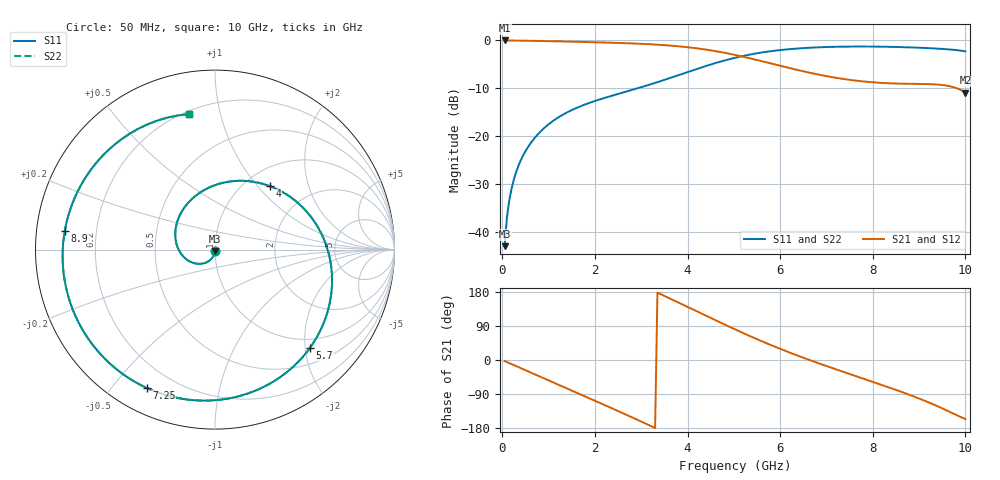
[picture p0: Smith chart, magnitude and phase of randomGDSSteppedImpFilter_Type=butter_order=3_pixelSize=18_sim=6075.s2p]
! freq	dB(S11)	phase(S11)	dB(S12)	phase(S12)
!  dB(S21)	phase(S21)	dB(S22)	phase(S22)
!S-par simulation data
#  GHz  S  DB  R 50
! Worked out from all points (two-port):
!   200 points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, 50 MHz to 10 GHz, reference 50 ohm
!   highest |S21| = 0.00 dB at 50 MHz (marker M1); lowest = -10.9 dB at 10 GHz (marker M2)
!   |S21| within 3 dB of the highest: start of sweep to 5.016 GHz
!   lowest |S11| = -43.0 dB at 50 MHz (marker M3), VSWR 1.01, Z = 50 - j0.71 ohm
!   |S11| at or under -10 dB: start of sweep to 2.917 GHz
!   |S22| runs from -43.0 to -1.3 dB; largest |S21 - S12| = 0
!   S11 on the Smith chart (normalised r, x): 50 MHz: 1.00, -0.01; 4 GHz: 1.29, +1.17; 5.7 GHz: 0.81, -2.10; 7.25 GHz: 0.10, -0.62; 8.9 GHz: 0.09, +0.06; 10 GHz: 0.22, +0.80
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0.05  -42.96 -92.1  -0.00 -2.7  -0.00 -2.7  -42.96 -92.1
0.1  -36.95 -95.1  -0.01 -5.4  -0.01 -5.4  -36.95 -95.1
0.2  -30.95 -100.7  -0.02 -10.8  -0.02 -10.8  -30.95 -100.7
0.5  -23.13 -117.2  -0.06 -26.9  -0.06 -26.9  -23.12 -117.1
1.15  -16.44 -152.7  -0.17 -61.8  -0.17 -61.8  -16.44 -152.6
1.75  -13.51 175.0  -0.31 -93.9  -0.31 -93.9  -13.51 175.1
2.2  -12.03 150.6  -0.43 -118.3  -0.43 -118.3  -12.03 150.8
2.65  -10.75 125.9  -0.56 -142.9  -0.56 -142.9  -10.75 126.1
3.05  -9.62 103.5  -0.72 -165.2  -0.72 -165.2  -9.61 103.8
3.4  -8.55 83.7  -0.91 174.9  -0.91 174.9  -8.55 83.9
4  -6.60 49.0  -1.41 140.1  -1.41 140.1  -6.60 49.3
4.5  -5.02 20.0  -2.06 110.9  -2.06 110.9  -5.02 20.2
5.05  -3.57 -11.2  -3.07 79.4  -3.07 79.4  -3.57 -11.0
5.7  -2.37 -45.9  -4.56 44.5  -4.56 44.5  -2.37 -45.7
6.2  -1.82 -70.3  -5.77 19.9  -5.77 19.9  -1.82 -70.1
6.7  -1.49 -93.0  -6.87 -2.9  -6.87 -2.9  -1.49 -92.8
7.25  -1.31 -116.4  -7.87 -26.5  -7.87 -26.5  -1.31 -116.2
7.85  -1.27 -141.1  -8.61 -51.3  -8.61 -51.3  -1.27 -141.0
8.35  -1.33 -162.2  -8.94 -72.2  -8.94 -72.2  -1.33 -162.0
8.9  -1.48 172.8  -9.07 -96.8  -9.07 -96.8  -1.48 172.9
9.5  -1.77 140.0  -9.31 -127.6  -9.31 -127.6  -1.77 140.0
10  -2.28 101.0  -10.91 -155.8  -10.91 -155.8  -2.29 101.0
